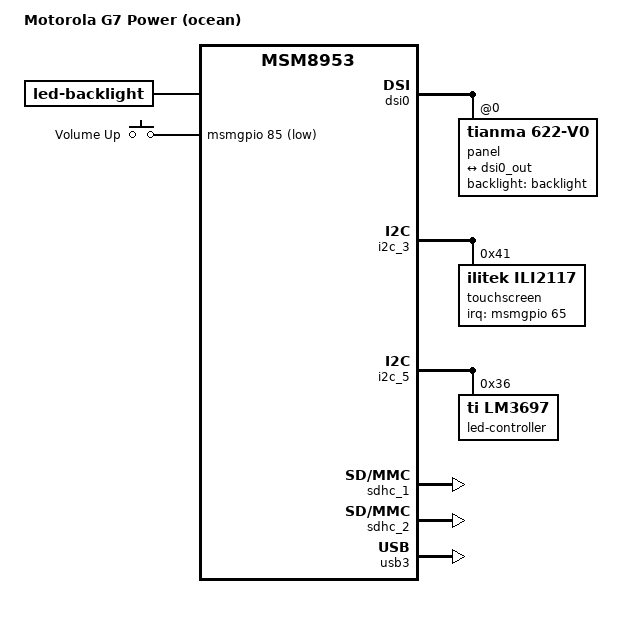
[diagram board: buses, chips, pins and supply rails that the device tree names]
// SPDX-License-Identifier: GPL-2.0-only

/dts-v1/;

#include "sdm632-pm8953.dtsi"
#include <dt-bindings/gpio/gpio.h>
#include <dt-bindings/leds/common.h>
#include <dt-bindings/interrupt-controller/irq.h>

/ {
	model = "Motorola G7 Power (ocean)";
	compatible = "qcom,sdm632", "qcom,msm8953";

	qcom,board-id = <0x141 0xc100>;
	qcom,msm-id = <349 0x00>;
	qcom,msm-name = "SDM632";
	qcom,pmic-id = <0x10016 0x25 0x00 0x00>;

	aliases {
		panel = &panel;
	};

	backlight: backlight {
		compatible = "led-backlight";
		leds = <&led>;
	};

	gpio-keys {
		compatible = "gpio-keys";

		pinctrl-names = "default";
		pinctrl-0 = <&gpio_key_default>;

		label = "GPIO Button";

		volume-up {
			label = "Volume Up";
			gpios = <&msmgpio 85 GPIO_ACTIVE_LOW>;
			linux,code = <KEY_VOLUMEUP>;
		};
	};

	reserved-memory {
		#address-cells = <2>;
		#size-cells = <2>;
		ranges;

		mmi_annotate_mem_region {
			no-map;
			reg = <0x00 0xeefa1800 0x00 0x800>;
		};

		/delete-node/other_ext_region@85b00000;

		other_ext_region@84300000 {
			no-map;
			reg = <0x0 0x84300000 0x0 0x2000000>;
		};

		ramoops_mem {
			compatible = "ramoops";
			reg = <0x0 0xef000000 0x0 0xbf800>;
			console-size = <0x40000>;
			pmsg-size = <0x40000>;
			record-size = <0x3f800>;
		};

		tzlog_dump_mem_region {
			no-map;
			reg = <0x00 0xeefa2000 0x00 0x30000>;
		};

		wdog_cpuctx_region {
			no-map;
			reg = <0x00 0xeefd2000 0x00 0x2e000>;
		};

	};

};

&dsi0 {
	panel: panel@0 {
		compatible = "tianma,622-v0";
		reg = <0>;

		pinctrl-names = "default", "sleep";
		pinctrl-0 = <&pmx_mdss_default>;
		pinctrl-1 = <&pmx_mdss_sleep>;

		backlight = <&backlight>;

		port {
			panel_in: endpoint {
				remote-endpoint = <&dsi0_out>;
			};
		};
	};
};

&dsi0_out {
	data-lanes = <0 1 2 3>;
	remote-endpoint = <&panel_in>;
};

&i2c_3 {
	status = "okay";

	touchscreen@41 {
		compatible = "ilitek,ili2117";
		reg = <0x41>;
		interrupt-parent = <&msmgpio>;
		interrupts = <65 IRQ_TYPE_EDGE_FALLING>;
		touchscreen-inverted-x;
	};
};

&i2c_5 {
	status = "okay";

	led-controller@36 {
		compatible = "ti,lm3697";
		#address-cells = <1>;
		#size-cells = <0>;
		reg = <0x36>;

		led: led@1 {
			reg = <1>;
			led-sources = <0 1 2>;
			function = LED_FUNCTION_BACKLIGHT;
			linux,default-trigger = "backlight";
		};
	};
};

&msmgpio {
	gpio-reserved-ranges = <96 4>;

	pmx_mdss_default: pmx-mdss-default-pins {
		pins = "gpio61";
		function = "gpio";
		drive-strength = <8>;
		bias-disable;
		output-high;
	};

	pmx_mdss_sleep: pmx-mdss-sleep-pins {
		pins = "gpio61";
		function = "gpio";
		drive-strength = <2>;
		bias-pull-down;
	};
};

&sdhc_1 {
	status = "okay";
	pinctrl-names = "default", "sleep";
	pinctrl-0 = <&sdc1_clk_on &sdc1_cmd_on &sdc1_data_on  &sdc1_rclk_on>;
	pinctrl-1 = <&sdc1_clk_off &sdc1_cmd_off &sdc1_data_off &sdc1_rclk_off>;
};

&sdhc_2 {
	status = "okay";
	pinctrl-names = "default", "sleep";
	pinctrl-0 = <&sdc2_clk_on &sdc2_cmd_on &sdc2_data_on &sdc2_cd_on>;
	pinctrl-1 = <&sdc2_clk_off &sdc2_cmd_off &sdc2_data_off &sdc2_cd_off>;
};

&smd_rpm_regulators {
	s3 {
		regulator-min-microvolt = <984000>;
		regulator-max-microvolt = <1240000>;
	};
	s4 {
		regulator-min-microvolt = <1036000>;
		regulator-max-microvolt = <2040000>;
	};
	l1 {
		regulator-min-microvolt = <975000>;
		regulator-max-microvolt = <1050000>;
	};
	l2 {
		regulator-min-microvolt = <975000>;
		regulator-max-microvolt = <1175000>;
	};
	l3 {
		regulator-min-microvolt = <925000>;
		regulator-max-microvolt = <925000>;
		regulator-allow-set-load;
	};
	l5 {
		regulator-min-microvolt = <1800000>;
		regulator-max-microvolt = <1800000>;
	};
	l6 { //WARNING: some ocean models use l22 instead
		regulator-always-on;
		regulator-boot-on;
		regulator-min-microvolt = <1800000>;
		regulator-max-microvolt = <1800000>;
	};
	l7 {
		regulator-min-microvolt = <1800000>;
		regulator-max-microvolt = <1900000>;
	};
	l8 {
		regulator-min-microvolt = <2900000>;
		regulator-max-microvolt = <2900000>;
	};
	l9 {
		regulator-min-microvolt = <3000000>;
		regulator-max-microvolt = <3300000>;
	};
	l10 {
		regulator-min-microvolt = <2800000>;
		regulator-max-microvolt = <3000000>;
	};
	l11 {
		regulator-min-microvolt = <2950000>;
		regulator-max-microvolt = <2950000>;
	};
	l12 {
		regulator-min-microvolt = <1800000>;
		regulator-max-microvolt = <2950000>;
	};
	l13 {
		regulator-min-microvolt = <3125000>;
		regulator-max-microvolt = <3125000>;
	};
	l16 {
		regulator-min-microvolt = <1800000>;
		regulator-max-microvolt = <1800000>;
	};
	l17 {
		regulator-min-microvolt = <2850000>;
		regulator-max-microvolt = <2850000>;
	};
	l19 {
		regulator-min-microvolt = <1200000>;
		regulator-max-microvolt = <1350000>;
	};
	l22 {
		regulator-min-microvolt = <1800000>;
		regulator-max-microvolt = <1800000>;
		regulator-always-on;
	};
	l23 {
		regulator-min-microvolt = <975000>;
		regulator-max-microvolt = <1225000>;
	};
};

&usb3 {
	status = "okay";
};

